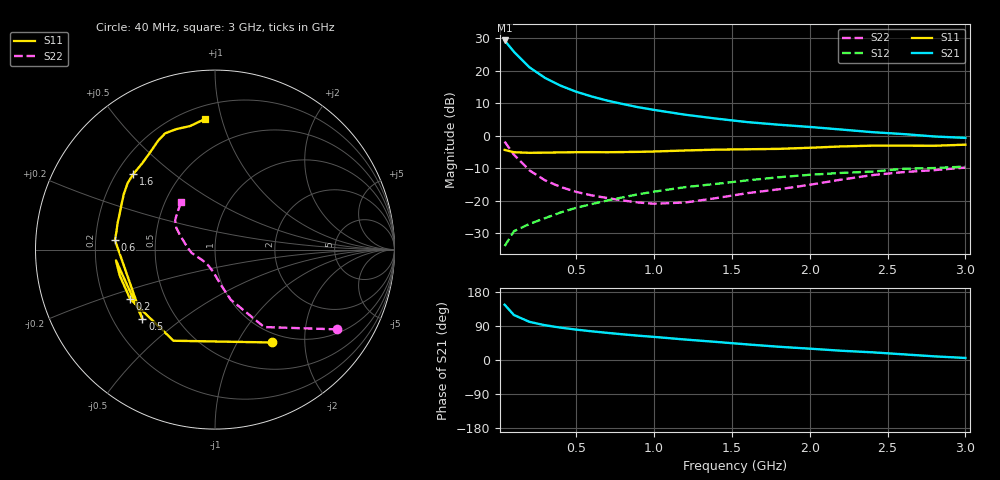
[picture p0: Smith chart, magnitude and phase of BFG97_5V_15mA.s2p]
! Filename:  BFG97A.S2P  Version:  2.0
! Philips part #: BFG97  Date: Jul 1990
! Bias condition: Vce=5V, Ic=15mA
#  MHz  S  MA  R  50
! Freq  S11  S21  S12  S22  !GUM [dB]
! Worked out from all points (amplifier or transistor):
!   21 points, 40 MHz to 3 GHz, reference 50 ohm
!   highest |S21| = 29.3 dB at 40 MHz (marker M1)
!   |S21| within 3 dB of that: start of sweep to 91.64 MHz
!   unconditionally stable (mu >= 1): 432 MHz to end of sweep
!   at 300 MHz: K = 0.91, MSG = 21.6 dB, |S12| = -25.4 dB
!   at 1 GHz: K = 1.14, MAG = 10.3 dB, |S12| = -17.2 dB
!   at 3 GHz: K = 1.06, MAG = 2.9 dB, |S12| = -9.5 dB
!   S11 on the Smith chart (normalised r, x): 40 MHz: 0.86, -1.41; 200 MHz: 0.31, -0.24; 500 MHz: 0.32, -0.36; 600 MHz: 0.28, +0.04; 1.6 GHz: 0.27, +0.37; 3 GHz: 0.28, +0.89
40  0.607 -58.5  29.33 145.9  0.02 66.5  0.814 -33.1
100  0.558 -114.5  19.63 118.7  0.034 51.8  0.511 -57.6
200  0.547 -150.0  11.3 100.6  0.044 51.3  0.293 -72.5
300  0.55 -164.7  7.769 91.7  0.054 54.5  0.206 -79.7
400  0.555 -173.8  5.902 85.4  0.066 57.2  0.163 -85.5
500  0.559 -136.3  4.765 80.2  0.078 59.2  0.137 -91.1
600  0.56 174.6  4.021 75.7  0.089 60.5  0.121 -95.8
700  0.558 169.7  3.478 71.6  0.101 61.6  0.11 -101.7
800  0.562 165.2  3.079 67.7  0.113 61.7  0.101 -108.1
900  0.566 160.6  2.75 64.1  0.126 61.3  0.094 -115.4
1000  0.573 156.5  2.503 61.0  0.138 61.4  0.09 -124.9
1200  0.594 149.0  2.111 54.0  0.162 59.7  0.094 -144.7
1400  0.612 142.7  1.838 47.7  0.182 57.8  0.11 -160.4
1600  0.62 137.2  1.624 41.1  0.206 56.6  0.131 -171.8
1800  0.629 130.1  1.481 35.0  0.23 52.9  0.15 177.5
2000  0.654 123.1  1.368 29.9  0.251 51.7  0.176 166.5
2200  0.685 117.5  1.25 24.5  0.268 49.0  0.211 157.5
2400  0.705 113.2  1.138 20.3  0.281 47.9  0.248 150.5
2600  0.705 107.9  1.063 15.0  0.31 44.3  0.276 143.5
2800  0.702 101.5  0.976 9.6  0.319 39.5  0.296 134.9
3000  0.73 94.3  0.928 5.4  0.336 38.0  0.324 125.6
